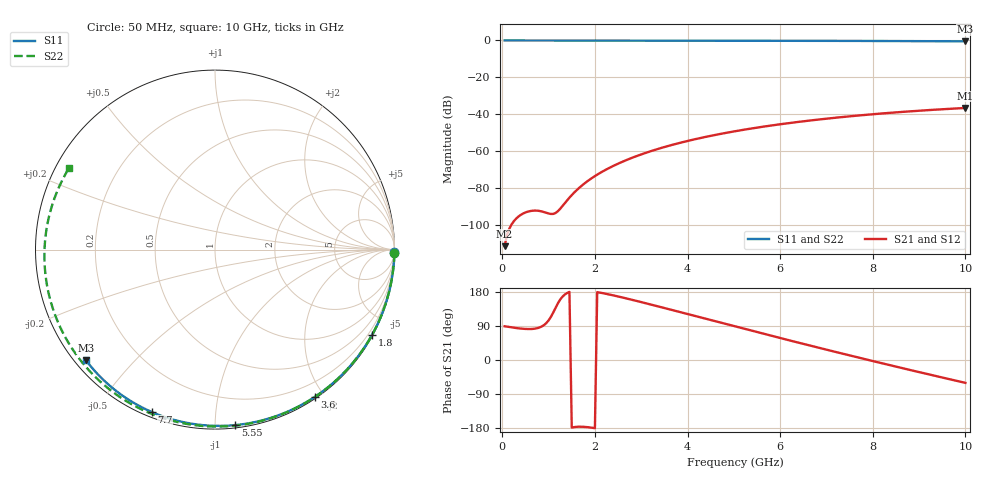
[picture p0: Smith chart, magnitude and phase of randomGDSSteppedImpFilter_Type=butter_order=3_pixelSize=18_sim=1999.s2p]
! freq	dB(S11)	phase(S11)	dB(S12)	phase(S12)
!  dB(S21)	phase(S21)	dB(S22)	phase(S22)
!S-par simulation data
#  GHz  S  DB  R 50
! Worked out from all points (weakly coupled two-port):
!   200 points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, 50 MHz to 10 GHz, reference 50 ohm
!   highest |S21| = -36.63 dB at 10 GHz (marker M1); lowest = -111.6 dB at 50 MHz (marker M2)
!   lowest |S11| = -0.5 dB at 10 GHz (marker M3), VSWR 36.72, Z = 1.55 - j18.4 ohm
!   |S11| at or under -10 dB: nowhere
!   |S22| runs from -0.6 to 0.0 dB; largest |S21 - S12| = 0
!   S11 on the Smith chart (normalised r, x): 50 MHz: open; 1.8 GHz: 0.03, -3.91; 3.6 GHz: 0.02, -1.88; 5.55 GHz: 0.02, -1.12; 7.7 GHz: 0.02, -0.68; 10 GHz: 0.03, -0.37
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0.05  -0.00 -0.8  -111.62 89.1  -111.62 89.1  -0.00 -1.2
0.4  -0.01 -6.4  -94.61 82.9  -94.61 82.9  -0.01 -9.8
0.8  -0.02 -12.9  -92.50 85.6  -92.50 85.6  -0.03 -19.5
1.2  -0.02 -19.2  -92.65 149.4  -92.65 149.4  -0.04 -29.1
1.65  -0.03 -26.3  -80.20 -176.1  -80.20 -176.1  -0.05 -39.8
1.75  -0.04 -27.9  -78.08 -176.3  -78.08 -176.3  -0.05 -42.1
1.8  -0.04 -28.7  -77.10 -176.7  -77.10 -176.7  -0.05 -43.3
2.1  -0.04 -33.3  -72.05 178.0  -72.05 178.0  -0.06 -50.2
2.5  -0.05 -39.5  -66.85 167.7  -66.85 167.7  -0.08 -59.2
2.9  -0.06 -45.5  -62.73 155.9  -62.73 155.9  -0.09 -68.1
3.4  -0.07 -53.0  -58.56 140.3  -58.56 140.3  -0.10 -78.9
3.6  -0.08 -55.9  -57.12 134.0  -57.12 134.0  -0.11 -83.1
4.3  -0.09 -66.1  -52.81 111.7  -52.81 111.7  -0.14 -97.6
5.05  -0.12 -76.6  -49.15 87.8  -49.15 87.8  -0.17 -112.5
5.55  -0.14 -83.4  -47.10 72.1  -47.10 72.1  -0.20 -122.1
6.15  -0.16 -91.4  -44.97 53.3  -44.97 53.3  -0.23 -133.5
6.7  -0.19 -98.6  -43.27 36.4  -43.27 36.4  -0.27 -143.9
7.2  -0.22 -105.0  -41.91 21.2  -41.91 21.2  -0.31 -153.3
7.7  -0.25 -111.3  -40.69 6.2  -40.69 6.2  -0.36 -162.7
8.35  -0.31 -119.3  -39.31 -13.1  -39.31 -13.1  -0.42 -175.2
9.2  -0.38 -129.7  -37.79 -37.7  -37.79 -37.7  -0.52 167.8
10  -0.47 -139.5  -36.63 -60.3  -36.63 -60.3  -0.61 150.9
